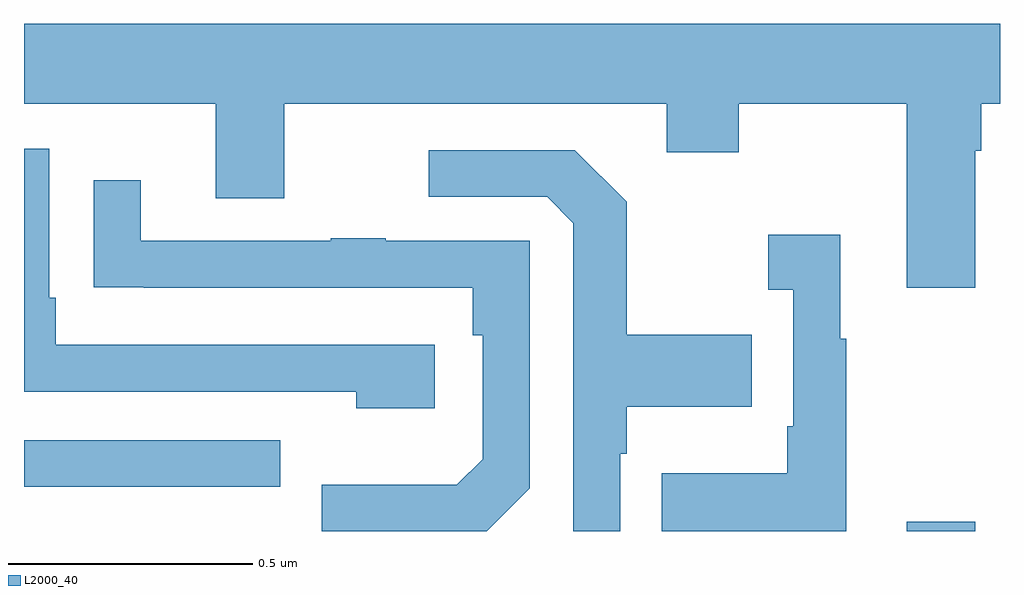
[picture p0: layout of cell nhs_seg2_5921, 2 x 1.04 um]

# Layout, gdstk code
import gdstk
lib = gdstk.Library(unit=1e-6, precision=1e-09)
def R(c, l, rs):  # rectangles x0, y0, x1, y1
    for r in rs: c.add(gdstk.rectangle(r[:2], r[2:], *l))
def P(c, l, *ps):  # polygons
    for p in ps: c.add(gdstk.Polygon(p, *l))
L2000_40 = (2000, 40)

nhs_seg2_5921 = lib.new_cell('nhs_seg2_5921')
R(nhs_seg2_5921, L2000_40, [(186.809,606.8,186.949,606.82), (185,606.891,185.525,606.987)])
P(nhs_seg2_5921, L2000_40, [(186.949,607.58),(186.962,607.58),(186.962,607.676),(187,607.676),(187,607.84),(185,607.84),(185,607.676),(185.393,607.676),(185.393,607.482),(185.533,607.482),(185.533,607.676),(186.317,607.676),(186.317,607.577),(186.465,607.577),(186.465,607.676),(186.809,607.676),(186.809,607.299),(186.949,607.299)],
  [(185.842,607.182),(185.065,607.182),(185.065,607.279),(185.052,607.279),(185.052,607.584),(185,607.584),(185,607.086),(185.681,607.086),(185.681,607.052),(185.842,607.052)],
  [(186.222,606.959),(186.235,606.959),(186.235,607.055),(186.491,607.055),(186.491,607.203),(186.235,607.203),(186.235,607.475),(186.129,607.581),(185.829,607.581),(185.829,607.485),(186.072,607.485),(186.126,607.431),(186.126,606.8),(186.222,606.8)],
  [(186.036,606.888),(186.036,607.395),(185.741,607.395),(185.741,607.4),(185.629,607.4),(185.629,607.395),(185.239,607.395),(185.239,607.519),(185.143,607.519),(185.143,607.3),(185.245,607.3),(185.245,607.299),(185.92,607.299),(185.92,607.202),(185.94,607.202),(185.94,606.948),(185.887,606.895),(185.61,606.895),(185.61,606.8),(185.948,606.8)],
  [(186.685,607.195),(186.673,607.195),(186.673,607.408),(186.525,607.408),(186.525,607.295),(186.576,607.295),(186.576,607.015),(186.564,607.015),(186.564,606.919),(186.307,606.919),(186.307,606.8),(186.685,606.8)])

lib.write_gds('nhs_seg2_5921.gds')
